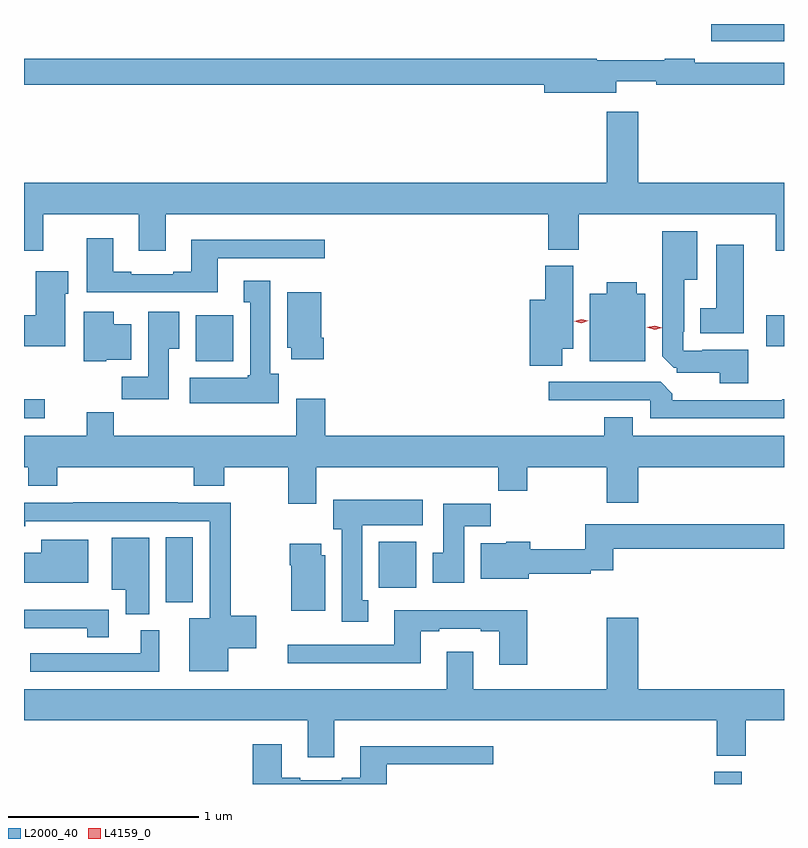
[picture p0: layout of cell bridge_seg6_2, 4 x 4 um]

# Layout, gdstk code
import gdstk
lib = gdstk.Library(unit=1e-6, precision=1e-09)
def R(c, l, rs):  # rectangles x0, y0, x1, y1
    for r in rs: c.add(gdstk.rectangle(r[:2], r[2:], *l))
def P(c, l, *ps):  # polygons
    for p in ps: c.add(gdstk.Polygon(p, *l))
L2000_40 = (2000, 40)
L4159_0 = (4159, 0)

bridge_seg6_2 = lib.new_cell('bridge_seg6_2')
R(bridge_seg6_2, L2000_40, [(932.804,948.332,932.95,948.396), (929.918,949.289,930.061,949.631), (931.04,949.364,931.237,949.606), (929.172,950.256,929.281,950.357), (930.077,950.558,930.274,950.8), (933.078,950.636,933.172,950.799), (932.79,952.241,933.172,952.332)])
P(bridge_seg6_2, L2000_40, [(932.29,952.031),(932.5,952.031),(932.5,952.012),(933.172,952.012),(933.172,952.128),(932.702,952.128),(932.702,952.148),(932.544,952.148),(932.544,952.141),(932.186,952.141),(932.186,952.148),(929.172,952.148),(929.172,952.012),(931.91,952.012),(931.91,951.97),(932.29,951.97)],
  [(929.272,951.332),(929.777,951.332),(929.777,951.138),(929.917,951.138),(929.917,951.332),(931.931,951.332),(931.931,951.145),(932.091,951.145),(932.091,951.332),(933.128,951.332),(933.128,951.138),(933.172,951.138),(933.172,951.496),(932.404,951.496),(932.404,951.871),(932.24,951.871),(932.24,951.496),(929.172,951.496),(929.172,951.138),(929.272,951.138)],
  [(932.983,950.617),(932.743,950.617),(932.743,950.613),(932.643,950.613),(932.643,950.713),(932.647,950.713),(932.647,950.987),(932.716,950.987),(932.716,951.241),(932.531,951.241),(932.531,950.583),(932.591,950.523),(932.607,950.523),(932.607,950.496),(932.834,950.496),(932.834,950.441),(932.983,950.441)],
  [(930.193,951.099),(930.754,951.099),(930.754,951.196),(930.053,951.196),(930.053,951.028),(929.957,951.028),(929.957,951.015),(929.737,951.015),(929.737,951.028),(929.641,951.028),(929.641,951.205),(929.501,951.205),(929.501,950.919),(930.193,950.919)],
  [(932.959,951.169),(932.816,951.169),(932.816,950.836),(932.732,950.836),(932.732,950.705),(932.959,950.705)],
  [(932.005,950.624),(932.062,950.624),(932.062,951.06),(931.916,951.06),(931.916,950.881),(931.835,950.881),(931.835,950.533),(932.005,950.533)],
  [(929.389,950.913),(929.404,950.913),(929.404,951.031),(929.234,951.031),(929.234,950.799),(929.172,950.799),(929.172,950.636),(929.389,950.636)],
  [(930.514,950.49),(930.469,950.49),(930.469,950.98),(930.329,950.98),(930.329,950.867),(930.362,950.867),(930.362,950.484),(930.349,950.484),(930.349,950.47),(930.045,950.47),(930.045,950.336),(930.514,950.336)],
  [(932.443,950.911),(932.398,950.911),(932.398,950.974),(932.24,950.974),(932.24,950.911),(932.15,950.911),(932.15,950.558),(932.443,950.558)],
  [(930.749,950.68),(930.736,950.68),(930.736,950.92),(930.557,950.92),(930.557,950.628),(930.578,950.628),(930.578,950.568),(930.749,950.568)],
  [(929.935,950.624),(929.989,950.624),(929.989,950.818),(929.825,950.818),(929.825,950.476),(929.686,950.476),(929.686,950.358),(929.935,950.358)],
  [(929.604,950.564),(929.737,950.564),(929.737,950.752),(929.644,950.752),(929.644,950.818),(929.486,950.818),(929.486,950.558),(929.604,950.558)],
  [(933.172,950.357),(933.164,950.357),(933.164,950.352),(932.585,950.352),(932.585,950.386),(932.523,950.448),(931.935,950.448),(931.935,950.352),(932.469,950.352),(932.469,950.256),(933.172,950.256)],
  [(929.645,950.288),(929.501,950.288),(929.501,950.164),(929.172,950.164),(929.172,950),(929.195,950),(929.195,949.901),(929.348,949.901),(929.348,950),(930.065,950),(930.065,949.901),(930.225,949.901),(930.225,950),(930.562,950),(930.562,949.806),(930.709,949.806),(930.709,950),(931.669,950),(931.669,949.876),(931.821,949.876),(931.821,950),(932.24,950),(932.24,949.812),(932.404,949.812),(932.404,950),(933.172,950),(933.172,950.164),(932.377,950.164),(932.377,950.263),(932.225,950.263),(932.225,950.164),(930.758,950.164),(930.758,950.359),(930.605,950.359),(930.605,950.164),(929.645,950.164)],
  [(930.985,949.298),(930.952,949.298),(930.952,949.694),(931.27,949.694),(931.27,949.828),(930.8,949.828),(930.8,949.674),(930.845,949.674),(930.845,949.185),(930.985,949.185)],
  [(930.247,949.046),(930.394,949.046),(930.394,949.217),(930.259,949.217),(930.259,949.812),(929.981,949.812),(929.981,949.814),(929.431,949.814),(929.431,949.812),(929.172,949.812),(929.172,949.688),(929.178,949.688),(929.178,949.716),(930.15,949.716),(930.15,949.204),(930.041,949.204),(930.041,948.926),(930.247,948.926)],
  [(931.489,949.688),(931.628,949.688),(931.628,949.807),(931.379,949.807),(931.379,949.548),(931.322,949.548),(931.322,949.392),(931.489,949.392)],
  [(931.828,949.438),(932.156,949.438),(932.156,949.458),(932.273,949.458),(932.273,949.57),(933.172,949.57),(933.172,949.699),(932.125,949.699),(932.125,949.567),(931.836,949.567),(931.836,949.606),(931.71,949.606),(931.71,949.6),(931.577,949.6),(931.577,949.412),(931.828,949.412)],
  [(929.83,949.627),(929.633,949.627),(929.633,949.355),(929.708,949.355),(929.708,949.225),(929.83,949.225)],
  [(929.509,949.618),(929.264,949.618),(929.264,949.549),(929.172,949.549),(929.172,949.391),(929.509,949.391)],
  [(930.757,949.536),(930.736,949.536),(930.736,949.597),(930.571,949.597),(930.571,949.484),(930.578,949.484),(930.578,949.244),(930.757,949.244)],
  [(929.617,949.249),(929.172,949.249),(929.172,949.151),(929.504,949.151),(929.504,949.105),(929.617,949.105)],
  [(931.821,949.246),(931.121,949.246),(931.121,949.065),(930.561,949.065),(930.561,948.968),(931.261,948.968),(931.261,949.137),(931.357,949.137),(931.357,949.149),(931.577,949.149),(931.577,949.137),(931.673,949.137),(931.673,948.96),(931.821,948.96)],
  [(930.805,948.668),(932.819,948.668),(932.819,948.481),(932.971,948.481),(932.971,948.668),(933.172,948.668),(933.172,948.832),(932.404,948.832),(932.404,949.207),(932.24,949.207),(932.24,948.832),(931.537,948.832),(931.537,949.027),(931.397,949.027),(931.397,948.832),(929.172,948.832),(929.172,948.668),(930.665,948.668),(930.665,948.474),(930.805,948.474)],
  [(929.884,949.14),(929.786,949.14),(929.786,949.02),(929.205,949.02),(929.205,948.924),(929.884,948.924)],
  [(931.081,948.435),(931.642,948.435),(931.642,948.532),(930.941,948.532),(930.941,948.364),(930.845,948.364),(930.845,948.351),(930.625,948.351),(930.625,948.364),(930.529,948.364),(930.529,948.541),(930.377,948.541),(930.377,948.332),(931.081,948.332)])
P(bridge_seg6_2, L4159_0, [(932.106,950.758),(932.069,950.768),(932.069,950.768),(932.069,950.768),(932.105,950.778),(932.142,950.769),(932.142,950.769),(932.142,950.769)],
  [(932.491,950.724),(932.45,950.735),(932.45,950.735),(932.45,950.735),(932.491,950.744),(932.532,950.734),(932.532,950.734),(932.532,950.734)])

lib.write_gds('bridge_seg6_2.gds')
